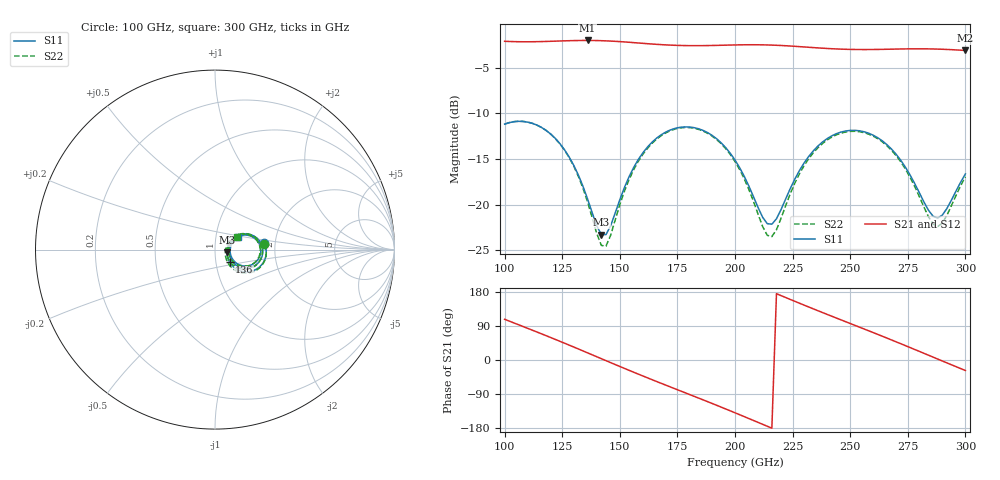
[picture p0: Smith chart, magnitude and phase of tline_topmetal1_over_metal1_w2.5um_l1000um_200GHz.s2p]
#  GHZ S DB R 50
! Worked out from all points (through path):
!   101 points, 100 GHz to 300 GHz, reference 50 ohm
!   highest |S21| = -1.99 dB at 136 GHz (marker M1); lowest = -3.1 dB at 300 GHz (marker M2)
!   group delay of S21, straight-line fit = 6.88 ps
!   lowest |S11| = -23.3 dB at 142 GHz (marker M3), VSWR 1.15, Z = 57.1 - j1.78 ohm
!   |S11| at or under -10 dB: start of sweep to end of sweep
!   |S22| runs from -24.6 to -10.9 dB; largest |S21 - S12| = 8.9e-14
!   S11 on the Smith chart (normalised r, x): 100 GHz: 1.75, +0.14; 136 GHz: 1.16, -0.17; 300 GHz: 1.29, +0.18
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100  -11.17 7.6  -2.08 107.5  -2.08 107.5  -11.17 6.4
108  -10.88 -7.2  -2.13 88.4  -2.13 88.4  -10.87 -8.7
116  -11.53 -21.8  -2.11 69.1  -2.11 69.1  -11.53 -23.8
126  -13.99 -37.8  -2.03 44.4  -2.03 44.4  -14.03 -40.8
134  -17.99 -42.8  -1.99 24.0  -1.99 24.0  -18.20 -47.4
136  -19.38 -40.7  -1.99 18.9  -1.99 18.9  -19.71 -45.9
142  -23.30 -13.1  -2.01 3.4  -2.01 3.4  -24.49 -16.9
146  -22.34 16.2  -2.05 -6.8  -2.05 -6.8  -23.39 17.9
154  -16.96 32.2  -2.18 -27.2  -2.18 -27.2  -17.27 34.2
168  -12.34 15.5  -2.44 -61.6  -2.44 -61.6  -12.43 15.8
184  -11.67 -11.9  -2.56 -100.0  -2.56 -100.0  -11.73 -12.9
200  -15.11 -34.7  -2.48 -139.3  -2.48 -139.3  -15.28 -37.7
212  -21.40 -21.1  -2.47 -169.7  -2.47 -169.7  -22.41 -25.5
216  -22.16 1.6  -2.50 -179.9  -2.50 -179.9  -23.52 1.5
224  -18.24 28.5  -2.60 159.8  -2.60 159.8  -18.81 32.1
234  -14.10 24.1  -2.77 134.9  -2.77 134.9  -14.32 26.3
244  -12.22 9.8  -2.92 110.7  -2.92 110.7  -12.35 10.9
252  -11.86 -3.2  -2.98 91.5  -2.98 91.5  -11.96 -2.6
268  -13.93 -27.0  -2.94 52.7  -2.94 52.7  -14.06 -27.8
278  -17.69 -31.8  -2.90 27.8  -2.90 27.8  -18.02 -33.9
288  -21.48 -1.0  -2.93 2.5  -2.93 2.5  -22.41 -0.7
300  -16.64 27.4  -3.09 -27.7  -3.09 -27.7  -16.95 30.5
